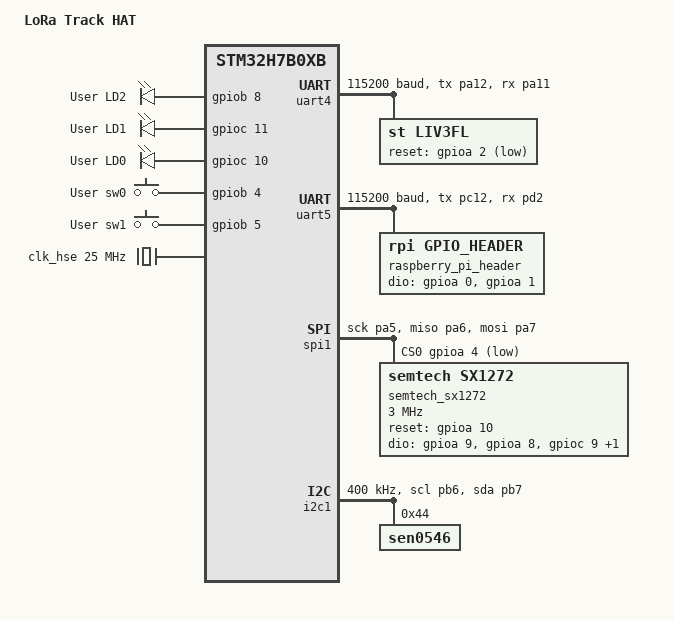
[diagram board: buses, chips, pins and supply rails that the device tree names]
/dts-v1/;
#include <st/h7/stm32h7b0Xb.dtsi>
#include <st/h7/stm32h7b0rbtx-pinctrl.dtsi>
#include <zephyr/dt-bindings/input/input-event-codes.h>

/ {
	model = "LoRa Track HAT";
	compatible = "domricho,loratrack_hat";

	chosen {
		zephyr,console = &uart5;
        zephyr,flash = &flash0;
        zephyr,sram = &sram0;
	};

	leds: leds {
		compatible = "gpio-leds";

		green_led: led_2 {
			gpios = <&gpiob 8 GPIO_ACTIVE_HIGH>;
			label = "User LD2";
		};

		red_led: led_1 {
			gpios = <&gpioc 11 GPIO_ACTIVE_HIGH>;
			label = "User LD1";
		};

		yellow_led: led_0 {
			gpios = <&gpioc 10 GPIO_ACTIVE_HIGH>;
			label = "User LD0";
		};
	};

	gpio_keys {
		compatible = "gpio-keys";

		user_button0: button_0 {
			label = "User sw0";
			gpios = <&gpiob 4 GPIO_ACTIVE_HIGH>;
			zephyr,code = <INPUT_KEY_0>;
		};
		user_button1: button_1 {
			label = "User sw1";
			gpios = <&gpiob 5 GPIO_ACTIVE_HIGH>;
			zephyr,code = <INPUT_KEY_0>;
		};
	};

	aliases {
		led2 = &green_led;
		led1 = &red_led;
		led0 = &yellow_led;
		sw0 = &user_button0;
        sw1 = &user_button1;
        lora0 = &semtech_sx1272;
        gnss = &liv3fl;
		watchdog0 = &iwdg;
	};

};

&clk_lsi {
	status = "okay";
};

&clk_hsi48 {
	status = "okay";
};

&clk_hse {
	clock-frequency = <DT_FREQ_M(25)>;
	status = "okay";
};

&clk_lse {
	status = "disabled";
};


&pll {
	div-m = <5>;
	mul-n = <112>;
	div-p = <2>;
	div-q = <2>;
	div-r = <2>;
	clocks = <&clk_hse>;
	status = "okay";
};

&rcc {
	clocks = <&pll>;
	clock-frequency = <DT_FREQ_M(280)>;
	d1cpre = <1>;
	hpre = <1>;
	d1ppre = <2>;
	d2ppre1 = <2>;
	d2ppre2 = <2>;
	d3ppre = <2>;
};

&uart4 {
	pinctrl-0 = <&uart4_tx_pa12 &uart4_rx_pa11>;
	pinctrl-names = "default";
	current-speed = <115200>;
	status = "okay";
    liv3fl: gnss {
        compatible = "st,liv3fl";
        reset-gpios = <&gpioa 2 (GPIO_ACTIVE_LOW | GPIO_PULL_DOWN)>;
        /* pps-gpios = <&gpiob 10 (GPIO_ACTIVE_HIGH | GPIO_PULL_DOWN)>; */
        /* pps-mode = "GNSS_PPS_MODE_ENABLED"; */
    };
};

&uart5 {
	pinctrl-0 = <&uart5_tx_pc12 &uart5_rx_pd2>;
	pinctrl-names = "default";
	current-speed = <115200>;
	status = "okay";
    raspberry_pi_header: rpi_header {
        compatible = "rpi,gpio_header";
        dio-gpios = <&gpioa 0 (GPIO_ACTIVE_HIGH | GPIO_PULL_DOWN)>,
                    <&gpioa 1 (GPIO_ACTIVE_HIGH | GPIO_PULL_DOWN)>;
        status = "okay";
    };
};

&spi1 {
	status = "okay";
	pinctrl-0 = <&spi1_sck_pa5 &spi1_miso_pa6 &spi1_mosi_pa7>;
	pinctrl-names = "default";
	cs-gpios = <&gpioa 4 GPIO_ACTIVE_LOW>;
    semtech_sx1272: lora@0 {
        compatible = "semtech,sx1272";
        status = "okay";
        reg = <0x0>;
        spi-max-frequency = <3000000>;

        reset-gpios = <&gpioa 10 GPIO_ACTIVE_HIGH>;

        dio-gpios = <&gpioa 9   (GPIO_ACTIVE_HIGH | GPIO_PULL_DOWN)>, // DIO0
                    <&gpioa 8   (GPIO_ACTIVE_HIGH | GPIO_PULL_DOWN)>, // DIO1
                    <&gpioc 9   (GPIO_ACTIVE_HIGH | GPIO_PULL_DOWN)>, // DIO2
                    <&gpioc 7   (GPIO_ACTIVE_HIGH | GPIO_PULL_DOWN)>; // DIO3

        power-amplifier-output = "rfo";
    };
};

&i2c1 {
	pinctrl-0 = <&i2c1_scl_pb6 &i2c1_sda_pb7>;
	pinctrl-names = "default";
	status = "okay";
	clock-frequency = <I2C_BITRATE_FAST>;
    sen0546: sen0546@44 {
        compatible = "sen0546";
        reg = <0x44>;
        status = "okay";
    };
};
